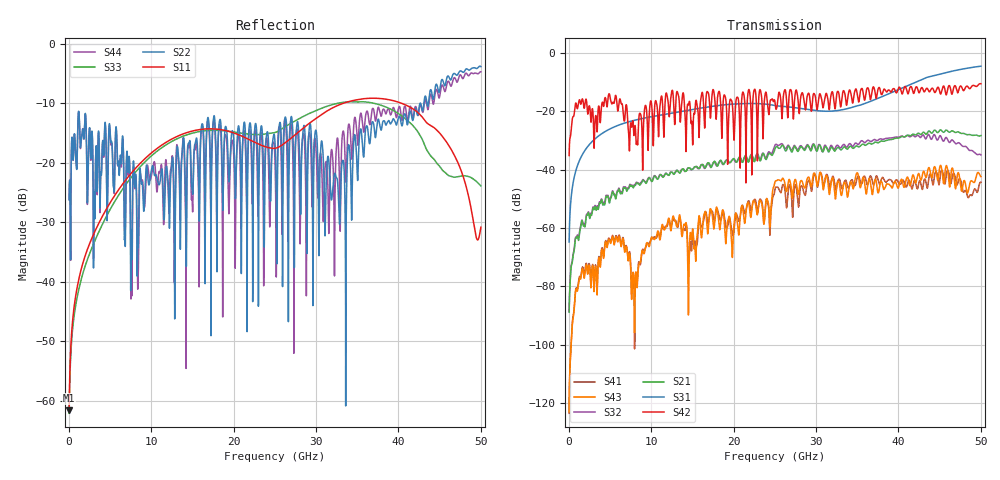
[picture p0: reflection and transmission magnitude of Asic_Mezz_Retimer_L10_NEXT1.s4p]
! Created Fri Jun 28 09:32:05 2019
# hz S ma R 50
! 4 Port Network Data from SP1.SP block
! freq  magS11  angS11  magS12  angS12  magS13  angS13  magS14  angS14
!  magS21  angS21  magS22  angS22  magS23  angS23  magS24  angS24
!  magS31  angS31  magS32  angS32  magS33  angS33  magS34  angS34
!  magS41  angS41  magS42  angS42  magS43  angS43  magS44  angS44
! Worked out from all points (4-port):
!   4996 points, 50 MHz to 50 GHz, reference 50 ohm
!   strongest paths, dB at 50 MHz, 12.54 GHz, 25.03 GHz, 37.52 GHz, 50 GHz:
!     S42: -35.1, -12.8, -17.0, -12.5, -10.5
!     S31: -64.8, -20.6, -18.0, -15.5, -4.5
!     S21: -88.9, -40.9, -32.8, -30.8, -28.3
!     S32: -88.5, -40.9, -31.6, -29.9, -34.9
!     S43: -123.0, -57.8, -44.2, -47.9, -42.4
!     S41: -123.6, -58.1, -46.7, -43.3, -44.3
!   lowest |S11| = -61.6 dB at 50 MHz (marker M1), VSWR 1.00, Z = 50.1 + j0.0621 ohm
!   |S11| at or under -10 dB: start of sweep to 33.28 GHz; 40.4 GHz to end of sweep
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5e7  0.0008341 48.1  3.574e-05 86.4  0.000575 86.1  6.599e-07 138.9
     3.574e-05 86.4  0.049 -87.5  3.752e-05 86.3  0.01748 52.6
     0.000575 86.1  3.752e-05 86.3  0.0007841 44.0  7.078e-07 130.9
     6.599e-07 138.9  0.01748 52.6  7.078e-07 130.9  0.04913 -87.5
2.79e9  0.02309 70.4  0.001665 56.4  0.02982 69.2  0.000169 -170.8
        0.001665 56.4  0.1776 84.6  0.001786 58.5  0.09275 76.2
        0.02982 69.2  0.001786 58.5  0.01911 74.3  0.0001565 -173.9
        0.000169 -170.8  0.09275 76.2  0.0001565 -173.9  0.1727 83.9
8.4e9  0.09468 35.4  0.005757 -28.6  0.07261 34.3  0.0002035 9.8
       0.005757 -28.6  0.02039 7.1  0.005907 -22.4  0.03304 112.4
       0.07261 34.3  0.005907 -22.4  0.08826 42.0  0.0001673 10.1
       0.0002035 9.8  0.03304 112.4  0.0001673 10.1  0.009364 29.6
1.379e10  0.1741 -13.6  0.01015 -104.6  0.1001 9.3  0.0008952 -64.1
          0.01015 -104.6  0.1291 54.9  0.01023 -96.7  0.1821 69.5
          0.1001 9.3  0.01023 -96.7  0.1667 -7.1  0.0007333 -80.2
          0.0008952 -64.1  0.1821 69.5  0.0007333 -80.2  0.1358 62.8
3.356e10  0.3209 -77.4  0.02396 -54.6  0.1092 155.2  0.006582 -149.2
          0.02396 -54.6  0.0216 -45.4  0.02547 -30.3  0.1792 -54.1
          0.1092 155.2  0.02547 -30.3  0.3243 -89.4  0.00583 -113.9
          0.006582 -149.2  0.1792 -54.1  0.00583 -113.9  0.08868 -23.6
3.992e10  0.3249 -123.9  0.03477 -144.1  0.2335 82.9  0.006349 99.3
          0.03477 -144.1  0.2289 -24.2  0.03593 -121.1  0.2308 -81.1
          0.2335 82.9  0.03593 -121.1  0.2615 -133.4  0.004869 -177.0
          0.006349 99.3  0.2308 -81.1  0.004869 -177.0  0.2699 -40.5
5e10  0.02878 55.5  0.03845 16.9  0.596 -48.2  0.006094 -12.5
      0.03845 16.9  0.6443 -81.2  0.01792 11.7  0.298 179.1
      0.596 -48.2  0.01792 11.7  0.06394 -85.6  0.007589 63.0
      0.006094 -12.5  0.298 179.1  0.007589 63.0  0.583 -86.7
